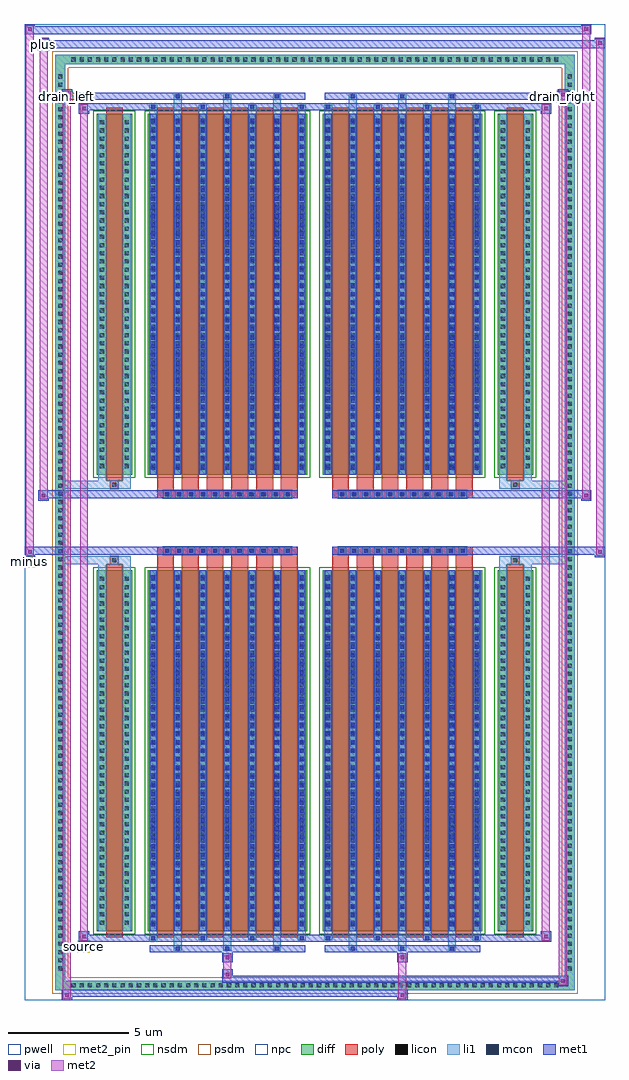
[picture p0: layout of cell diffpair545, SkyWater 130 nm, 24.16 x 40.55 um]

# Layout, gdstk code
import gdstk
lib = gdstk.Library(unit=1e-6, precision=5e-09)
def R(c, l, rs):  # rectangles x0, y0, x1, y1
    for r in rs: c.add(gdstk.rectangle(r[:2], r[2:], *l))
def A(c, l, x, y, w, h, nx, ny, dx, dy):  # array of equal rectangles
    R(c, l, [(x+i*dx, y+j*dy, x+i*dx+w, y+j*dy+h) for i in range(nx) for j in range(ny)])
def P(c, l, *ps):  # polygons
    for p in ps: c.add(gdstk.Polygon(p, *l))
pwell = (64, 44)
diff = (65, 20)
poly = (66, 20)
licon = (66, 44)
li1 = (67, 20)
mcon = (67, 44)
met1 = (68, 20)
via = (68, 44)
met2_pin = (69, 16)
met2 = (69, 20)
nsdm = (93, 44)
psdm = (94, 20)
npc = (95, 20)

diffpair545 = lib.new_cell('diffpair545')
R(diffpair545, pwell, [(-12.06,-19.84,12.06,20.71), (-9.38,-18.03,-0.01,-0.805), (0.01,-18.03,9.38,-0.805), (-9.38,0.805,-0.01,18.03), (0.01,0.805,9.38,18.03)])
A(diffpair545, diff, -10.235, -19.44, 0.41, 0.41, 60, 2, 0.34, 38.47)
A(diffpair545, diff, -10.79, -18.735, 0.41, 0.41, 1, 110, 0, 0.34)
A(diffpair545, diff, 10.38, -18.735, 0.41, 0.41, 1, 110, 0, 0.34)
R(diffpair545, diff, [(-10.235,-19.44,10.235,-19.03), (-10.79,-18.735,-10.38,18.735), (10.38,-18.735,10.79,18.735), (-9.07,-16.985,-7.59,-1.985), (-6.95,-16.985,-0.32,-1.985), (0.32,-16.985,6.95,-1.985), (7.59,-16.985,9.07,-1.985), (-9.07,1.985,-7.59,16.985), (-6.95,1.985,-0.32,16.985), (0.32,1.985,6.95,16.985), (7.59,1.985,9.07,16.985), (-10.235,19.03,10.235,19.44)])
P(diffpair545, diff, [(10.79,19.44),(-10.79,19.44),(-10.79,-19.03),(-10.38,-19.03),(-10.38,19.03),(10.38,19.03),(10.38,-19.03),(-10.38,-19.03),(-10.79,-19.03),(-10.79,-19.44),(10.79,-19.44)])
A(diffpair545, poly, -6.56, -17.235, 0.7, 15.5, 6, 2, 1.03, 18.97)
A(diffpair545, poly, 0.71, -17.235, 0.7, 15.5, 6, 2, 1.03, 18.97)
A(diffpair545, poly, -6.56, -1.735, 0.7, 0.4, 6, 2, 1.03, 3.07)
A(diffpair545, poly, 0.71, -1.735, 0.7, 0.4, 6, 2, 1.03, 3.07)
A(diffpair545, poly, -6.3, -1.335, 0.33, 0.33, 11, 2, 0.5, 2.34)
A(diffpair545, poly, 0.97, -1.335, 0.33, 0.33, 11, 2, 0.5, 2.34)
R(diffpair545, poly, [(-8.68,-17.235,-7.98,-1.735), (7.98,-17.235,8.68,-1.735), (-8.495,-1.735,-8.165,-1.405), (-8.495,-1.735,-8.165,-1.405), (8.165,-1.735,8.495,-1.405), (8.165,-1.735,8.495,-1.405), (-6.56,-1.335,-0.71,-1.005), (0.71,-1.335,6.56,-1.005), (-6.56,1.005,-0.71,1.335), (0.71,1.005,6.56,1.335), (-8.495,1.405,-8.165,1.735), (-8.495,1.405,-8.165,1.735), (8.165,1.405,8.495,1.735), (8.165,1.405,8.495,1.735), (-8.68,1.735,-7.98,17.235), (7.98,1.735,8.68,17.235)])
A(diffpair545, licon, -10.115, -19.32, 0.17, 0.17, 60, 2, 0.34, 38.47)
A(diffpair545, licon, -10.67, -18.615, 0.17, 0.17, 1, 110, 0, 0.34)
A(diffpair545, licon, 10.5, -18.615, 0.17, 0.17, 1, 110, 0, 0.34)
A(diffpair545, licon, -8.93, -16.71, 0.17, 0.17, 1, 43, 0, 0.34)
A(diffpair545, licon, -7.9, -16.71, 0.17, 0.17, 1, 43, 0, 0.34)
A(diffpair545, licon, -6.81, -16.71, 0.17, 0.17, 7, 43, 1.03, 0.34)
A(diffpair545, licon, 0.46, -16.71, 0.17, 0.17, 7, 43, 1.03, 0.34)
A(diffpair545, licon, 7.73, -16.71, 0.17, 0.17, 1, 43, 0, 0.34)
A(diffpair545, licon, 8.76, -16.71, 0.17, 0.17, 1, 43, 0, 0.34)
A(diffpair545, licon, -6.22, -1.255, 0.17, 0.17, 11, 2, 0.5, 2.34)
A(diffpair545, licon, 1.05, -1.255, 0.17, 0.17, 11, 2, 0.5, 2.34)
A(diffpair545, licon, -8.93, 2.26, 0.17, 0.17, 1, 43, 0, 0.34)
A(diffpair545, licon, -7.9, 2.26, 0.17, 0.17, 1, 43, 0, 0.34)
A(diffpair545, licon, -6.81, 2.26, 0.17, 0.17, 7, 43, 1.03, 0.34)
A(diffpair545, licon, 0.46, 2.26, 0.17, 0.17, 7, 43, 1.03, 0.34)
A(diffpair545, licon, 7.73, 2.26, 0.17, 0.17, 1, 43, 0, 0.34)
A(diffpair545, licon, 8.76, 2.26, 0.17, 0.17, 1, 43, 0, 0.34)
R(diffpair545, licon, [(-8.415,-1.655,-8.245,-1.485), (8.245,-1.655,8.415,-1.485), (-8.415,1.485,-8.245,1.655), (8.245,1.485,8.415,1.655)])
A(diffpair545, li1, -10.195, -19.4, 0.33, 0.33, 60, 2, 0.34, 38.47)
A(diffpair545, li1, -10.75, -18.695, 0.33, 0.33, 1, 110, 0, 0.34)
A(diffpair545, li1, 10.42, -18.695, 0.33, 0.33, 1, 110, 0, 0.34)
A(diffpair545, li1, -5.86, -17.79, 0.33, 0.805, 3, 2, 2.06, 34.775)
A(diffpair545, li1, -5.78, -17.79, 0.17, 0.17, 3, 2, 2.06, 35.41)
A(diffpair545, li1, 1.41, -17.79, 0.33, 0.805, 3, 2, 2.06, 34.775)
A(diffpair545, li1, 1.49, -17.79, 0.17, 0.17, 3, 2, 2.06, 35.41)
A(diffpair545, li1, -6.89, -17.36, 0.33, 0.375, 4, 2, 2.06, 34.345)
A(diffpair545, li1, -6.81, -17.36, 0.17, 0.17, 4, 2, 2.06, 34.55)
A(diffpair545, li1, 0.38, -17.36, 0.33, 0.375, 4, 2, 2.06, 34.345)
A(diffpair545, li1, 0.46, -17.36, 0.17, 0.17, 4, 2, 2.06, 34.55)
A(diffpair545, li1, -6.89, -16.985, 0.33, 15, 7, 2, 1.03, 18.97)
A(diffpair545, li1, 0.38, -16.985, 0.33, 15, 7, 2, 1.03, 18.97)
A(diffpair545, li1, -9.01, -16.79, 0.33, 0.33, 1, 43, 0, 0.34)
A(diffpair545, li1, -7.98, -16.79, 0.33, 0.33, 1, 43, 0, 0.34)
A(diffpair545, li1, -6.89, -16.79, 0.33, 0.33, 7, 43, 1.03, 0.34)
A(diffpair545, li1, 0.38, -16.79, 0.33, 0.33, 7, 43, 1.03, 0.34)
A(diffpair545, li1, 7.65, -16.79, 0.33, 0.33, 1, 43, 0, 0.34)
A(diffpair545, li1, 8.68, -16.79, 0.33, 0.33, 1, 43, 0, 0.34)
A(diffpair545, li1, -6.81, -16.77, 0.17, 0.17, 7, 41, 1.03, 0.36)
A(diffpair545, li1, -6.81, -16.77, 0.17, 14.57, 7, 2, 1.03, 18.97)
A(diffpair545, li1, 0.46, -16.77, 0.17, 0.17, 7, 41, 1.03, 0.36)
A(diffpair545, li1, 0.46, -16.77, 0.17, 14.57, 7, 2, 1.03, 18.97)
A(diffpair545, li1, -6.3, -1.335, 0.33, 0.33, 11, 2, 0.5, 2.34)
A(diffpair545, li1, 0.97, -1.335, 0.33, 0.33, 11, 2, 0.5, 2.34)
A(diffpair545, li1, -9.01, 2.18, 0.33, 0.33, 1, 43, 0, 0.34)
A(diffpair545, li1, -7.98, 2.18, 0.33, 0.33, 1, 43, 0, 0.34)
A(diffpair545, li1, -6.89, 2.18, 0.33, 0.33, 7, 43, 1.03, 0.34)
A(diffpair545, li1, 0.38, 2.18, 0.33, 0.33, 7, 43, 1.03, 0.34)
A(diffpair545, li1, 7.65, 2.18, 0.33, 0.33, 1, 43, 0, 0.34)
A(diffpair545, li1, 8.68, 2.18, 0.33, 0.33, 1, 43, 0, 0.34)
A(diffpair545, li1, -6.81, 2.2, 0.17, 0.17, 7, 41, 1.03, 0.36)
A(diffpair545, li1, 0.46, 2.2, 0.17, 0.17, 7, 41, 1.03, 0.36)
R(diffpair545, li1, [(-10.79,-19.44,-10.38,-19.03), (-10.79,-19.44,-10.38,-19.03), (-10.38,-19.44,10.38,-19.03), (10.38,-19.44,10.79,-19.03), (10.38,-19.44,10.79,-19.03), (-10.79,-19.03,-10.38,19.03), (10.38,-19.03,10.79,19.03), (-9.01,-16.985,-8.68,-1.985), (-7.98,-16.985,-7.65,-1.985), (7.65,-16.985,7.98,-1.985), (8.68,-16.985,9.01,-1.985), (-9.01,-1.985,-8.68,-1.405), (-7.98,-1.985,-7.65,-1.405), (7.65,-1.985,7.98,-1.405), (8.68,-1.985,9.01,-1.405), (-10.79,-1.735,-8.495,-1.405), (-9.01,-1.735,-8.495,-1.405), (-8.495,-1.735,-8.165,-1.405), (-8.165,-1.735,-7.65,-1.405), (7.65,-1.735,8.165,-1.405), (8.165,-1.735,8.495,-1.405), (8.165,-1.735,10.79,-1.405), (8.495,-1.735,9.01,-1.405), (-10.79,1.405,-8.495,1.735), (-9.01,1.405,-8.495,1.735), (-9.01,1.405,-8.68,1.985), (-8.495,1.405,-8.165,1.735), (-8.165,1.405,-7.65,1.735), (-7.98,1.405,-7.65,1.985), (7.65,1.405,8.165,1.735), (7.65,1.405,7.98,1.985), (8.165,1.405,8.495,1.735), (8.165,1.405,10.79,1.735), (8.495,1.405,9.01,1.735), (8.68,1.405,9.01,1.985), (-9.01,1.985,-8.68,16.985), (-7.98,1.985,-7.65,16.985), (7.65,1.985,7.98,16.985), (8.68,1.985,9.01,16.985), (-10.79,19.03,-10.38,19.44), (-10.79,19.03,-10.38,19.44), (-10.38,19.03,10.38,19.44), (10.38,19.03,10.79,19.44), (10.38,19.03,10.79,19.44)])
A(diffpair545, mcon, -5.78, -17.79, 0.17, 0.17, 3, 2, 2.06, 35.41)
A(diffpair545, mcon, 1.49, -17.79, 0.17, 0.17, 3, 2, 2.06, 35.41)
A(diffpair545, mcon, -6.81, -17.36, 0.17, 0.17, 4, 2, 2.06, 34.55)
A(diffpair545, mcon, 0.46, -17.36, 0.17, 0.17, 4, 2, 2.06, 34.55)
A(diffpair545, mcon, -6.81, -16.77, 0.17, 0.17, 7, 41, 1.03, 0.36)
A(diffpair545, mcon, 0.46, -16.77, 0.17, 0.17, 7, 41, 1.03, 0.36)
A(diffpair545, mcon, -6.22, -1.255, 0.17, 0.17, 11, 2, 0.5, 2.34)
A(diffpair545, mcon, 1.05, -1.255, 0.17, 0.17, 11, 2, 0.5, 2.34)
A(diffpair545, mcon, -6.81, 2.2, 0.17, 0.17, 7, 41, 1.03, 0.36)
A(diffpair545, mcon, 0.46, 2.2, 0.17, 0.17, 7, 41, 1.03, 0.36)
A(diffpair545, met1, -5.84, -17.85, 0.29, 0.29, 3, 2, 2.06, 35.41)
A(diffpair545, met1, 1.43, -17.85, 0.29, 0.29, 3, 2, 2.06, 35.41)
A(diffpair545, met1, -6.87, -17.42, 0.29, 0.29, 4, 2, 2.06, 34.55)
A(diffpair545, met1, 0.4, -17.42, 0.29, 0.29, 4, 2, 2.06, 34.55)
A(diffpair545, met1, -6.87, -16.985, 0.29, 15, 7, 2, 1.03, 18.97)
A(diffpair545, met1, 0.4, -16.985, 0.29, 15, 7, 2, 1.03, 18.97)
A(diffpair545, met1, -6.87, -16.83, 0.29, 0.29, 7, 41, 1.03, 0.36)
A(diffpair545, met1, 0.4, -16.83, 0.29, 0.29, 7, 41, 1.03, 0.36)
A(diffpair545, met1, -6.28, -1.315, 0.29, 0.29, 11, 2, 0.5, 2.34)
A(diffpair545, met1, 0.99, -1.315, 0.29, 0.29, 11, 2, 0.5, 2.34)
A(diffpair545, met1, -6.87, 2.14, 0.29, 0.29, 7, 41, 1.03, 0.36)
A(diffpair545, met1, 0.4, 2.14, 0.29, 0.29, 7, 41, 1.03, 0.36)
R(diffpair545, met1, [(-10.52,-19.84,-10.09,-19.41), (3.42,-19.84,3.85,-19.41), (-10.52,-19.7,3.85,-19.41), (10.09,-19.27,10.52,-18.84), (-3.85,-19.13,10.52,-18.84), (-3.85,-18.99,-3.42,-18.56), (-3.85,-18.28,-3.42,-17.85), (3.42,-18.28,3.85,-17.85), (-6.87,-17.85,-0.4,-17.56), (0.4,-17.85,6.87,-17.56), (-9.81,-17.42,-9.38,-16.99), (-9.81,-17.42,-6.87,-17.13), (-6.87,-17.42,-0.4,-17.13), (-0.4,-17.42,0.4,-17.13), (0.4,-17.42,6.87,-17.13), (6.87,-17.42,9.81,-17.13), (9.38,-17.42,9.81,-16.99), (-12.06,-1.435,-11.63,-1.005), (11.63,-1.435,12.06,-1.005), (-12.06,-1.335,-0.71,-1.005), (-6.56,-1.335,-0.71,-1.005), (0.71,-1.335,6.56,-1.005), (0.71,-1.335,12.06,-1.005), (-11.49,0.905,-11.06,1.335), (11.06,0.905,11.49,1.335), (-11.49,1.005,-6.56,1.335), (-6.56,1.005,-0.71,1.335), (0.71,1.005,6.56,1.335), (6.56,1.005,11.49,1.335), (-9.81,16.99,-9.38,17.42), (9.38,16.99,9.81,17.42), (-9.81,17.13,-6.87,17.42), (-6.87,17.13,-0.4,17.42), (-0.4,17.13,0.4,17.42), (0.4,17.13,6.87,17.42), (6.87,17.13,9.81,17.42), (-10.52,17.56,-10.09,17.99), (-10.52,17.56,-6.87,17.85), (-6.87,17.56,-0.4,17.85), (0.4,17.56,6.87,17.85), (6.87,17.56,10.52,17.85), (10.09,17.56,10.52,17.99), (-11.49,19.71,-11.06,20.14), (-11.49,19.71,-9.38,20.04), (-9.38,19.71,9.38,20.04), (9.38,19.71,12.06,20.04), (11.63,19.71,12.06,20.14), (-12.06,20.28,-11.63,20.71), (-12.06,20.28,-9.38,20.61), (-9.38,20.28,9.38,20.61), (9.38,20.28,11.49,20.61), (11.06,20.28,11.49,20.71)])
R(diffpair545, via, [(-10.38,-19.7,-10.23,-19.55), (3.56,-19.7,3.71,-19.55), (10.23,-19.13,10.38,-18.98), (-3.71,-18.85,-3.56,-18.7), (-3.71,-18.14,-3.56,-17.99), (3.56,-18.14,3.71,-17.99), (-9.67,-17.28,-9.52,-17.13), (9.52,-17.28,9.67,-17.13), (-11.92,-1.295,-11.77,-1.145), (11.77,-1.295,11.92,-1.145), (-11.35,1.045,-11.2,1.195), (11.2,1.045,11.35,1.195), (-9.67,17.13,-9.52,17.28), (9.52,17.13,9.67,17.28), (-10.38,17.7,-10.23,17.85), (10.23,17.7,10.38,17.85), (-11.35,19.85,-11.2,20), (11.77,19.85,11.92,20), (-11.92,20.42,-11.77,20.57), (11.2,20.42,11.35,20.57)])
R(diffpair545, met2_pin, [(-9.845,-17.87,-9.345,-17.37), (-12.095,-1.885,-11.595,-1.385), (-10.555,17.44,-10.055,17.94), (10.055,17.44,10.555,17.94), (-11.525,19.59,-11.025,20.09)])
R(diffpair545, met2, [(-10.47,-19.79,-10.14,-19.46), (-10.47,-19.79,-10.14,17.94), (3.47,-19.79,3.8,-19.46), (3.47,-19.46,3.8,-18.23), (10.14,-19.22,10.47,-18.89), (10.14,-19.22,10.47,17.94), (-3.8,-18.94,-3.47,-18.61), (-3.8,-18.61,-3.47,-18.23), (-3.8,-18.23,-3.47,-17.9), (3.47,-18.23,3.8,-17.9), (-9.76,-17.37,-9.43,-17.04), (-9.76,-17.37,-9.43,17.37), (9.43,-17.37,9.76,-17.04), (9.43,-17.37,9.76,17.37), (-12.01,-1.385,-11.68,-1.055), (-12.01,-1.385,-11.68,20.66), (11.68,-1.385,12.01,-1.055), (11.68,-1.385,12.01,20.09), (-11.44,0.955,-11.11,1.285), (-11.44,0.955,-11.11,20.09), (11.11,0.955,11.44,1.285), (11.11,0.955,11.44,20.66), (-9.76,17.04,-9.43,17.37), (9.43,17.04,9.76,17.37), (-10.47,17.61,-10.14,17.94), (10.14,17.61,10.47,17.94), (-11.44,19.76,-11.11,20.09), (11.68,19.76,12.01,20.09), (-12.01,20.33,-11.68,20.66), (11.11,20.33,11.44,20.66)])
P(diffpair545, met2, [(12.01,-1.385),(12.01,-1.385),(12.01,-1.055),(12.01,-1.055)],
  [(12.01,19.76),(12.01,19.76),(12.01,20.09),(12.01,20.09)],
  [(-11.68,-1.385),(-11.68,-1.385),(-11.68,-1.055),(-11.68,-1.055)],
  [(-11.68,20.33),(-11.68,20.33),(-11.68,20.66),(-11.68,20.66)],
  [(11.44,0.955),(11.44,0.955),(11.44,1.285),(11.44,1.285)],
  [(11.44,20.33),(11.44,20.33),(11.44,20.66),(11.44,20.66)],
  [(-11.11,0.955),(-11.11,0.955),(-11.11,1.285),(-11.11,1.285)],
  [(-11.11,19.76),(-11.11,19.76),(-11.11,20.09),(-11.11,20.09)],
  [(-10.14,-19.79),(-10.14,-19.79),(-10.14,-19.46),(-10.14,-19.46)],
  [(-10.14,17.61),(-10.14,17.61),(-10.14,17.94),(-10.14,17.94)],
  [(10.47,-19.22),(10.47,-19.22),(10.47,-18.89),(10.47,-18.89)],
  [(10.47,17.61),(10.47,17.61),(10.47,17.94),(10.47,17.94)],
  [(-9.43,-17.37),(-9.43,-17.37),(-9.43,-17.04),(-9.43,-17.04)],
  [(-9.43,17.04),(-9.43,17.04),(-9.43,17.37),(-9.43,17.37)],
  [(9.76,-17.37),(9.76,-17.37),(9.76,-17.04),(9.76,-17.04)],
  [(9.76,17.04),(9.76,17.04),(9.76,17.37),(9.76,17.37)])
R(diffpair545, nsdm, [(-9.2,-17.115,-7.46,-1.855), (-7.08,-17.115,-0.19,-1.855), (0.19,-17.115,7.08,-1.855), (7.46,-17.115,9.2,-1.855), (-9.2,1.855,-7.46,17.115), (-7.08,1.855,-0.19,17.115), (0.19,1.855,7.08,17.115), (7.46,1.855,9.2,17.115)])
P(diffpair545, psdm, [(10.92,19.57),(-10.92,19.57),(-10.92,-18.9),(-10.25,-18.9),(-10.25,18.9),(10.25,18.9),(10.25,-18.9),(-10.25,-18.9),(-10.92,-18.9),(-10.92,-19.57),(10.92,-19.57)])
A(diffpair545, npc, -6.32, -1.355, 0.37, 0.37, 11, 2, 0.5, 2.34)
A(diffpair545, npc, 0.95, -1.355, 0.37, 0.37, 11, 2, 0.5, 2.34)
R(diffpair545, npc, [(-8.515,-1.755,-8.145,-1.385), (8.145,-1.755,8.515,-1.385), (-6.32,-1.355,-5.45,-0.985), (-6.32,-1.355,-5.45,-0.985), (-5.82,-1.355,-4.95,-0.985), (-5.82,-1.355,-4.95,-0.985), (-5.32,-1.355,-4.45,-0.985), (-5.32,-1.355,-4.45,-0.985), (-4.82,-1.355,-3.95,-0.985), (-4.82,-1.355,-3.95,-0.985), (-4.32,-1.355,-3.45,-0.985), (-4.32,-1.355,-3.45,-0.985), (-3.82,-1.355,-2.95,-0.985), (-3.82,-1.355,-2.95,-0.985), (-3.32,-1.355,-2.45,-0.985), (-3.32,-1.355,-2.45,-0.985), (-2.82,-1.355,-1.95,-0.985), (-2.82,-1.355,-1.95,-0.985), (-2.32,-1.355,-1.45,-0.985), (-2.32,-1.355,-1.45,-0.985), (-1.82,-1.355,-0.95,-0.985), (-1.82,-1.355,-0.95,-0.985), (0.95,-1.355,1.82,-0.985), (0.95,-1.355,1.82,-0.985), (1.45,-1.355,2.32,-0.985), (1.45,-1.355,2.32,-0.985), (1.95,-1.355,2.82,-0.985), (1.95,-1.355,2.82,-0.985), (2.45,-1.355,3.32,-0.985), (2.45,-1.355,3.32,-0.985), (2.95,-1.355,3.82,-0.985), (2.95,-1.355,3.82,-0.985), (3.45,-1.355,4.32,-0.985), (3.45,-1.355,4.32,-0.985), (3.95,-1.355,4.82,-0.985), (3.95,-1.355,4.82,-0.985), (4.45,-1.355,5.32,-0.985), (4.45,-1.355,5.32,-0.985), (4.95,-1.355,5.82,-0.985), (4.95,-1.355,5.82,-0.985), (5.45,-1.355,6.32,-0.985), (5.45,-1.355,6.32,-0.985), (-6.32,0.985,-5.45,1.355), (-6.32,0.985,-5.45,1.355), (-5.82,0.985,-4.95,1.355), (-5.82,0.985,-4.95,1.355), (-5.32,0.985,-4.45,1.355), (-5.32,0.985,-4.45,1.355), (-4.82,0.985,-3.95,1.355), (-4.82,0.985,-3.95,1.355), (-4.32,0.985,-3.45,1.355), (-4.32,0.985,-3.45,1.355), (-3.82,0.985,-2.95,1.355), (-3.82,0.985,-2.95,1.355), (-3.32,0.985,-2.45,1.355), (-3.32,0.985,-2.45,1.355), (-2.82,0.985,-1.95,1.355), (-2.82,0.985,-1.95,1.355), (-2.32,0.985,-1.45,1.355), (-2.32,0.985,-1.45,1.355), (-1.82,0.985,-0.95,1.355), (-1.82,0.985,-0.95,1.355), (0.95,0.985,1.82,1.355), (0.95,0.985,1.82,1.355), (1.45,0.985,2.32,1.355), (1.45,0.985,2.32,1.355), (1.95,0.985,2.82,1.355), (1.95,0.985,2.82,1.355), (2.45,0.985,3.32,1.355), (2.45,0.985,3.32,1.355), (2.95,0.985,3.82,1.355), (2.95,0.985,3.82,1.355), (3.45,0.985,4.32,1.355), (3.45,0.985,4.32,1.355), (3.95,0.985,4.82,1.355), (3.95,0.985,4.82,1.355), (4.45,0.985,5.32,1.355), (4.45,0.985,5.32,1.355), (4.95,0.985,5.82,1.355), (4.95,0.985,5.82,1.355), (5.45,0.985,6.32,1.355), (5.45,0.985,6.32,1.355), (-8.515,1.385,-8.145,1.755), (8.145,1.385,8.515,1.755)])
diffpair545.add(gdstk.Label('minus', (-11.845,-1.635), layer=69, texttype=5))
diffpair545.add(gdstk.Label('drain_right', (10.305,17.69), layer=69, texttype=5))
diffpair545.add(gdstk.Label('drain_left', (-10.305,17.69), layer=69, texttype=5))
diffpair545.add(gdstk.Label('source', (-9.595,-17.62), layer=69, texttype=5))
diffpair545.add(gdstk.Label('plus', (-11.275,19.84), layer=69, texttype=5))

lib.write_gds('diffpair545.gds')
